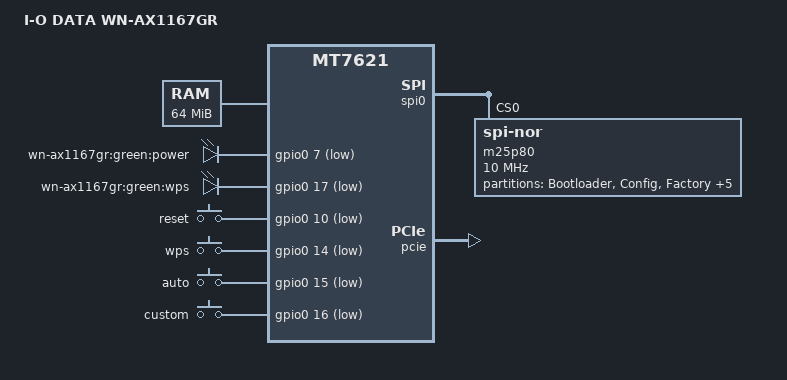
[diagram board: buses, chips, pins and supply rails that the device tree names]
/dts-v1/;

#include "mt7621.dtsi"

#include <dt-bindings/gpio/gpio.h>
#include <dt-bindings/input/input.h>

/ {
	compatible = "iodata,wn-ax1167gr", "mediatek,mt7621-soc";
	model = "I-O DATA WN-AX1167GR";

	aliases {
		led-boot = &led_power;
		led-failsafe = &led_power;
		led-running = &led_power;
		led-upgrade = &led_power;
	};

	memory@0 {
		device_type = "memory";
		reg = <0x0 0x4000000>;
	};

	chosen {
		bootargs = "console=ttyS0,115200";
	};

	gpio-leds {
		compatible = "gpio-leds";

		led_power: power {
			label = "wn-ax1167gr:green:power";
			gpios = <&gpio0 7 GPIO_ACTIVE_LOW>;
		};

		wps {
			label = "wn-ax1167gr:green:wps";
			gpios = <&gpio0 17 GPIO_ACTIVE_LOW>;
		};
	};

	gpio-keys-polled {
		compatible = "gpio-keys-polled";
		poll-interval = <20>;

		reset {
			label = "reset";
			gpios = <&gpio0 10 GPIO_ACTIVE_LOW>;
			linux,code = <KEY_RESTART>;
		};

		wps {
			label = "wps";
			gpios = <&gpio0 14 GPIO_ACTIVE_LOW>;
			linux,code = <KEY_WPS_BUTTON>;
		};

		auto {
			label = "auto";
			gpios = <&gpio0 15 GPIO_ACTIVE_LOW>;
			linux,code = <BTN_0>;
			linux,input-type = <EV_SW>;
		};

		custom {
			label = "custom";
			gpios = <&gpio0 16 GPIO_ACTIVE_LOW>;
			linux,code = <BTN_0>;
			linux,input-type = <EV_SW>;
		};
	};
};

&spi0 {
	status = "okay";

	m25p80@0 {
		compatible = "jedec,spi-nor";
		reg = <0>;
		spi-max-frequency = <10000000>;
		m25p,chunked-io = <32>;

		partitions {
			compatible = "fixed-partitions";
			#address-cells = <1>;
			#size-cells = <1>;

			partition@0 {
				label = "Bootloader";
				reg = <0x0 0x30000>;
				read-only;
			};

			partition@30000 {
				label = "Config";
				reg = <0x30000 0x10000>;
				read-only;
			};

			Factory: partition@40000 {
				label = "Factory";
				reg = <0x40000 0x10000>;
				read-only;
			};

			iNIC_rf: partition@50000 {
				label = "iNIC_rf";
				reg = <0x50000 0x10000>;
				read-only;
			};

			partition@60000 {
				compatible = "denx,uimage";
				label = "firmware";
				reg = <0x60000 0xf30000>;
			};

			partition@f90000 {
				label = "Key";
				reg = <0xf90000 0x10000>;
				read-only;
			};

			partition@fa0000 {
				label = "backup";
				reg = <0xfa0000 0x10000>;
				read-only;
			};

			partition@fb0000 {
				label = "storage";
				reg = <0xfb0000 0x50000>;
				read-only;
			};
		};
	};
};

&ethernet {
	mtd-mac-address = <&iNIC_rf 0x4>;
};

&pinctrl {
	state_default: pinctrl0 {
		gpio {
			ralink,group = "uart2", "uart3", "jtag";
			ralink,function = "gpio";
		};
	};
};

&pcie {
	status = "okay";
};

&pcie0 {
	mt76@0,0 {
		reg = <0x0000 0 0 0 0>;
		mediatek,mtd-eeprom = <&iNIC_rf 0x0>;
	};
};

&pcie1 {
	mt76@0,0 {
		reg = <0x0000 0 0 0 0>;
		mediatek,mtd-eeprom = <&Factory 0x0>;
		ieee80211-freq-limit = <5000000 6000000>;
	};
};

&xhci {
	status = "disabled";
};
